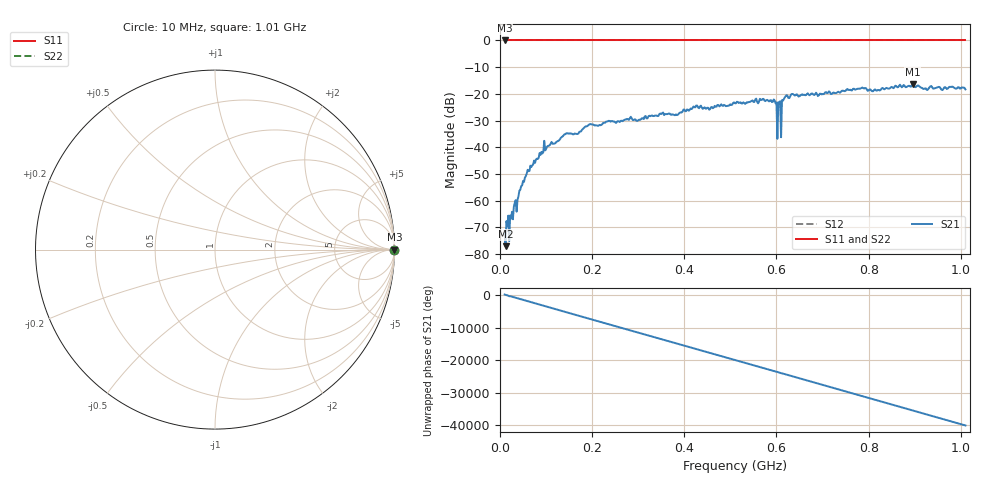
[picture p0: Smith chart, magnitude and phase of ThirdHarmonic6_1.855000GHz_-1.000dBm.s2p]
! 8/16/2025 10:26:33 PM
! C:\ANRITSUVNA\TEMP\TEMP.S2P
! CHANNEL.1
! TR.MEASUREMENT
! RAW.DATA
! RF.CORRECTION.OFF
! AVERAGING.OFF
! IF.BANDWIDTH: 5KHZ
! SWEEPTYPE:  FREQ.SWEEP(Linear)
! Reference Plane Port Info
! PORT:  PORT1  PORT2
! DISTANCE:  0  m  0  m
! TIME:  0  s  0  s
! PHASE.OFFSET:  0  deg.  0  deg.
! LOSS:  0  dB  0  dB
! REF.LOSS:  0  dB  0  dB
! REF.FREQ:  0  Hz  0  Hz
! Power Info
! POWER:  -20  dBm  -20  dBm
! EFF.POWER:  -20  dBm  -20  dBm
! SOURCE.ATTEN:  0  dB  0  dB
! TEST.ATTEN:  0  dB  0  dB
# GHZ S RI R 50.0
! FREQ.GHZ  S11RE  S11IM  S21RE  S21IM  S12RE  S12IM  S22RE  S22IM
!; PortSelection: Port_12
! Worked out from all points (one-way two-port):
!   501 points, 10 MHz to 1.01 GHz, reference 50 ohm
!   highest |S21| = -16.39 dB at 896 MHz (marker M1); lowest = -77.1 dB at 12 MHz (marker M2)
!   lowest |S11| = 0.0 dB at 10 MHz (marker M3)
!   |S11| at or under -10 dB: nowhere
!   |S22| runs from 0.0 to 0.0 dB; largest |S21 - S12| = 1.1
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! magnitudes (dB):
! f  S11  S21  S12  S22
! 10 MHz  0.0  -71.5  0.0  0.0
! 12 MHz  0.0  -77.1  0.0  0.0
! 24 MHz  0.0  -66.8  0.0  0.0
! 30 MHz  0.0  -62.3  0.0  0.0
! 58 MHz  0.0  -49.9  0.0  0.0
! 92 MHz  0.0  -42.3  0.0  0.0
! 142 MHz  0.0  -35.1  0.0  0.0
! 178 MHz  0.0  -33.5  0.0  0.0
! 196 MHz  0.0  -31.3  0.0  0.0
! 344 MHz  0.0  -28.2  0.0  0.0
! 510 MHz  0.0  -23.5  0.0  0.0
! 592 MHz  0.0  -23.0  0.0  0.0
! 604 MHz  0.0  -23.1  0.0  0.0
! 606 MHz  0.0  -23.5  0.0  0.0
! 608 MHz  0.0  -22.8  0.0  0.0
! 614 MHz  0.0  -22.5  0.0  0.0
! 616 MHz  0.0  -22.0  0.0  0.0
! 620 MHz  0.0  -20.8  0.0  0.0
! 678 MHz  0.0  -19.9  0.0  0.0
! 844 MHz  0.0  -18.0  0.0  0.0
! 896 MHz  0.0  -16.4  0.0  0.0
! 1.01 GHz  0.0  -18.3  0.0  0.0
